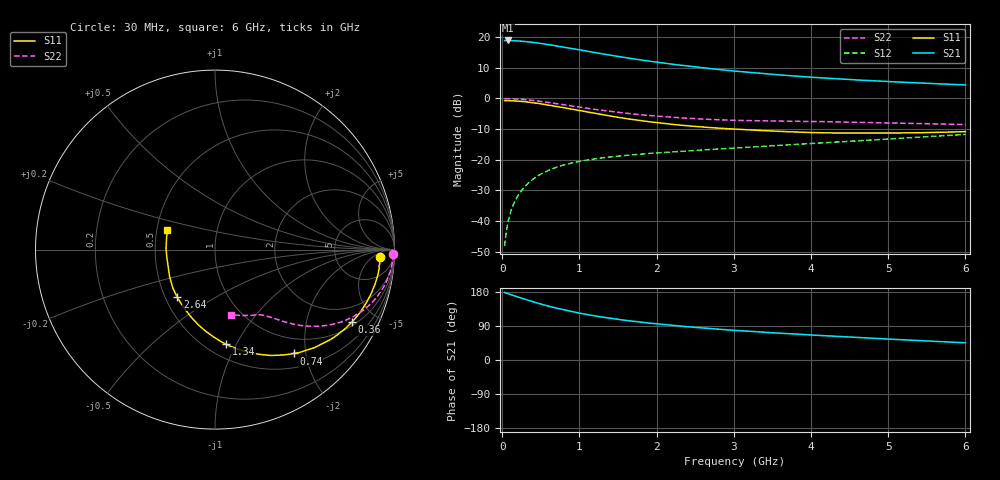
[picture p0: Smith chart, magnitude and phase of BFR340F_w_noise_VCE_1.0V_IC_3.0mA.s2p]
! Infineon Technologies  Discrete & RF Semiconductors
! BFR340F
! VCE =  1.0 V,  IC =  3.0 mA
! Common Emitter S-Parameters:  Nov 2015
# GHz  S  MA  R  50
!  f  S11  S21  S12  S22
! GHz  MAG  ANG  MAG  ANG  MAG  ANG  MAG  ANG
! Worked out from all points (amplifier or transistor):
!   206 points, 30 MHz to 6 GHz, reference 50 ohm
!   highest |S21| = 18.9 dB at 70 MHz (marker M1)
!   |S21| within 3 dB of that: start of sweep to 986.1 MHz
!   unconditionally stable (mu >= 1): 3.565 GHz to end of sweep
!   at 200 MHz: K = 0.09, MSG = 25.3 dB, |S12| = -31.9 dB
!   at 1.56 GHz: K = 0.63, MSG = 16.1 dB, |S12| = -18.7 dB
!   at 6 GHz: K = 1.03, MAG = 7.0 dB, |S12| = -11.8 dB
!   lowest NFmin = 0.87 dB at 100 MHz
!   S11 on the Smith chart (normalised r, x): 30 MHz: 19, -10; 360 MHz: 1.16, -3.68; 740 MHz: 0.73, -1.78; 1.34 GHz: 0.62, -0.91; 2.64 GHz: 0.58, -0.35; 6 GHz: 0.57, +0.14
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0.03  0.9217 -2.5  8.768 178.3  0.0039 87.4  0.9928 -1.4
0.05  0.9184 -4.1  8.732 176.2  0.0063 87.6  0.9925 -2.4
0.06  0.9215 -4.9  8.725 175.8  0.0078 86.7  0.992 -2.9
0.07  0.918 -5.8  8.799 174.9  0.0091 86.6  0.9914 -3.4
0.08  0.921 -6.5  8.762 174.7  0.0104 86.4  0.9909 -3.9
0.2  0.9035 -16.0  8.655 166.4  0.0255 80.9  0.9752 -9.6
0.36  0.8629 -27.9  8.292 156.0  0.0442 74.3  0.9367 -16.7
0.46  0.8305 -35.0  7.989 150.0  0.0546 70.6  0.9061 -20.7
0.6  0.7786 -44.5  7.537 142.0  0.0674 66.0  0.858 -25.7
0.74  0.7251 -52.9  7.042 135.0  0.0783 62.1  0.8084 -30.0
0.9  0.667 -62.2  6.507 127.8  0.0886 58.5  0.7533 -34.1
1.04  0.6183 -69.3  6.059 122.2  0.0962 56.1  0.7093 -37.0
1.2  0.5686 -77.1  5.588 116.3  0.1036 53.9  0.663 -40.0
1.34  0.5308 -83.3  5.212 112.0  0.109 52.4  0.6281 -42.0
1.62  0.4652 -95.0  4.572 104.0  0.1184 50.5  0.5698 -45.4
2.02  0.4005 -109.0  3.867 95.0  0.1296 49.4  0.5122 -48.8
2.34  0.3632 -119.3  3.438 88.9  0.138 49.4  0.4797 -51.2
2.64  0.3382 -128.4  3.112 83.8  0.1457 49.7  0.457 -53.4
3.1  0.3114 -140.1  2.726 77.1  0.1578 50.5  0.4369 -56.2
4.1  0.2757 -162.0  2.175 65.0  0.1871 52.7  0.4192 -61.0
5.1  0.2729 176.3  1.856 54.2  0.2217 54.1  0.3958 -68.1
6  0.2874 157.5  1.659 45.4  0.2584 54.5  0.374 -76.0
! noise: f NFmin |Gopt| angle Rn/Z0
0.1  0.87  0.67  1  0.35
0.45  0.9  0.62  3  0.38
0.9  0.9  0.59  12  0.41
1.9  1.18  0.46  23  0.37
2.4  1.27  0.43  32  0.35
